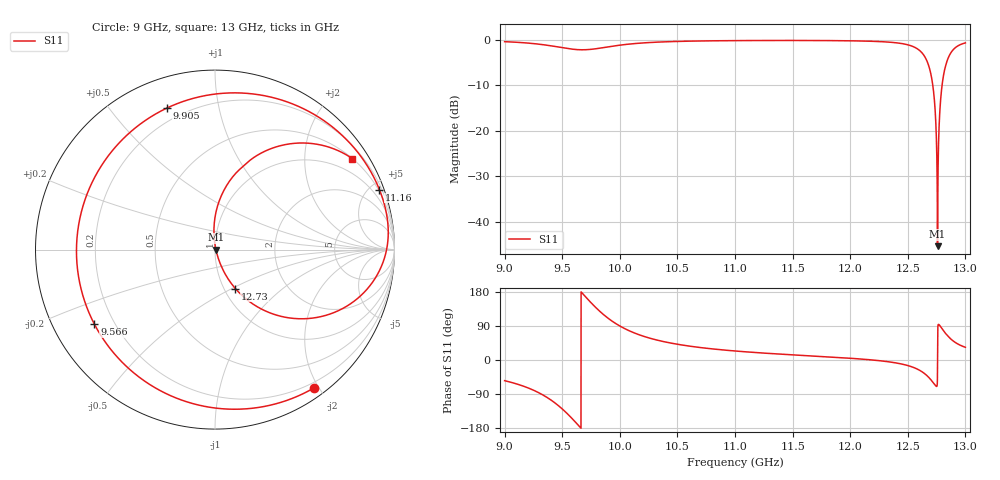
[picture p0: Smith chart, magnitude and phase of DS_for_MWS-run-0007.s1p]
! TOUCHSTONE file generated by CST DESIGN STUDIO
! Date and time: Tue Feb  4 17:37:57 2025
! Project name: C:\Work\MatlabApps\UnitCellOptimizationMatlab\CST\unitcell.cst
! Tree item: Tasks\Sweep1\SPara1\S-Parameters
! Header version: 2024
! Port assignment regex: !\s*Touchstone port\s*([0-9]+)\s*=\s*(CST MWS port|CST DES external port|CST DES block port)\s*(.+)\s* \(\"(.*)\"\)(\s*mode\s*([0-9]+))?.*
! Touchstone port assignment:
! Touchstone port 1 = CST DES external port 1 ("")
# GHz S MA R 50
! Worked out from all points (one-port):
!   4001 points, 9 GHz to 13 GHz, reference 50 ohm
!   lowest |S11| = -45.3 dB at 12.76 GHz (marker M1), VSWR 1.01, Z = 50.5 - j0.114 ohm
!   |S11| at or under -10 dB: 12.72 GHz to 12.8 GHz (80.96 MHz wide, 0.635 % of centre)
!   S11 on the Smith chart (normalised r, x): 9 GHz: 0.13, -1.93; 9.566 GHz: 0.13, -0.28; 9.905 GHz: 0.14, +0.71; 11.16 GHz: 0.41, +5.63; 12.73 GHz: 1.13, -0.52; 13 GHz: 0.50, +3.25
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9  0.9474 -54.5
9.163  0.9226 -69.0
9.315  0.8839 -89.3
9.5  0.8139 -129.1
9.566  0.79 -148.2
9.714  0.7741 162.9
9.812  0.7984 132.5
9.905  0.833 108.7
10  0.867 89.8
10.222  0.9212 61.1
10.5  0.953 41.5
11  0.9728 23.8
11.162  0.9752 20.0
11.5  0.9766 13.6
12  0.9681 4.6
12.5  0.8751 -14.6
12.589  0.7816 -24.9
12.658  0.6127 -39.0
12.7  0.4199 -52.0
12.727  0.245 -62.4
12.744  0.116 -68.6
12.758  0.005404 -12.0
12.772  0.1135 93.0
12.784  0.2108 88.4
12.795  0.2961 83.7
12.83  0.5233 69.3
12.889  0.7598 51.4
13  0.9183 33.5
